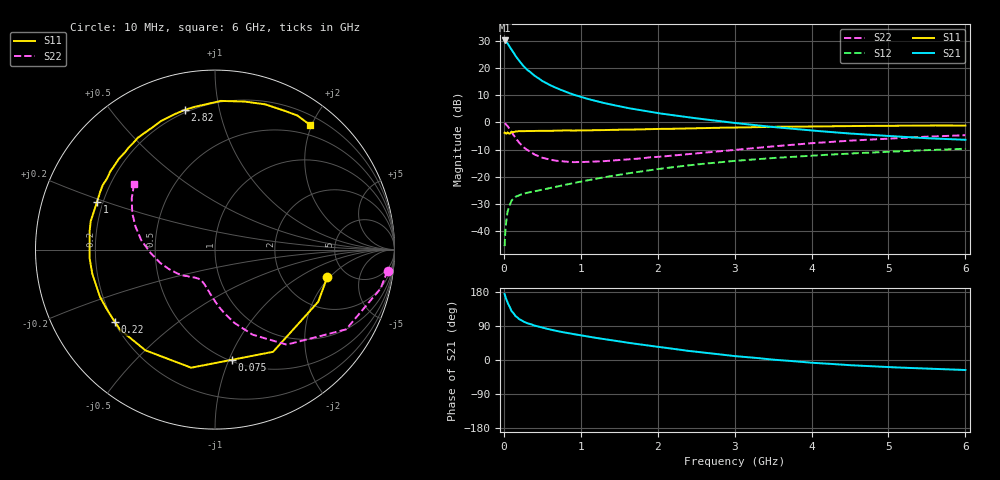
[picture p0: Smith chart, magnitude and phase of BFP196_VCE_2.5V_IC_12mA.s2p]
! Infineon Technologies  Discrete & RF Semiconductors
! BFP196
! VCE = 2.5 V,  IC =  12mA
! Common Emitter S-Parameters:  Jan 2016
# GHz  S  MA  R  50
!  f  S11  S21  S12  S22
! GHz  MAG  ANG  MAG  ANG  MAG  ANG  MAG  ANG
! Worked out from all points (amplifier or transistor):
!   210 points, 10 MHz to 6 GHz, reference 50 ohm
!   highest |S21| = 30.1 dB at 10 MHz (marker M1)
!   |S21| within 3 dB of that: start of sweep to 91.32 MHz
!   unconditionally stable (mu >= 1): 831.6 MHz to 3.447 GHz; 3.653 GHz to 3.84 GHz
!   at 185 MHz: K = 0.34, MSG = 25.1 dB, |S12| = -27.0 dB
!   at 1.52 GHz: K = 1.13, MAG = 10.3 dB, |S12| = -19.2 dB
!   at 6 GHz: K = 0.97, MSG = 1.7 dB, |S12| = -9.7 dB
!   S11 on the Smith chart (normalised r, x): 10 MHz: 3.59, -1.87; 75 MHz: 0.51, -1.03; 220 MHz: 0.20, -0.31; 1 GHz: 0.18, +0.19; 2.82 GHz: 0.19, +0.79; 6 GHz: 0.33, +1.96
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0.01  0.6446 -13.7  31.98 174.2  0.0053 84.4  0.969 -7.0
0.02  0.6444 -26.8  31.05 166.7  0.0103 78.7  0.9475 -13.3
0.05  0.655 -60.4  28.16 149.8  0.0232 64.2  0.8552 -31.3
0.075  0.6211 -81.2  24.57 140.8  0.0295 54.6  0.7458 -40.8
0.1  0.6712 -101.4  21.78 129.2  0.0364 48.5  0.6631 -53.0
0.15  0.682 -124.6  16.72 116.2  0.0427 40.6  0.5188 -66.1
0.2  0.6921 -139.8  13.43 107.8  0.0459 36.9  0.4222 -75.2
0.22  0.6879 -143.9  12.44 105.7  0.047 36.1  0.3948 -77.6
0.26  0.6883 -151.6  10.67 101.0  0.049 35.0  0.3469 -82.8
0.3  0.6929 -157.8  9.348 97.4  0.0508 35.0  0.3142 -86.8
0.4  0.6968 -168.8  7.176 90.7  0.0541 35.1  0.256 -94.8
0.5  0.7005 -176.3  5.763 85.3  0.0577 37.2  0.2236 -100.9
0.7  0.7059 171.6  4.17 75.9  0.0665 40.8  0.1957 -109.4
1  0.7093 158.0  2.935 65.0  0.0814 44.4  0.1861 -119.0
1.02  0.7102 157.2  2.882 64.4  0.0824 44.6  0.1865 -119.5
1.4  0.7279 143.2  2.107 52.2  0.1028 45.9  0.1981 -128.3
2.02  0.7574 123.9  1.466 34.3  0.1394 43.9  0.2328 -143.3
2.82  0.7969 102.2  1.048 14.5  0.1854 37.1  0.2965 -162.3
3.1  0.8064 95.9  0.942 8.7  0.2005 33.8  0.3217 -168.6
4.1  0.8429 77.1  0.69 -8.4  0.2488 22.9  0.4223 170.9
5.1  0.8653 63.2  0.552 -19.6  0.2919 11.7  0.5118 154.4
6  0.8736 52.9  0.478 -26.4  0.3268 1.2  0.5804 141.0
